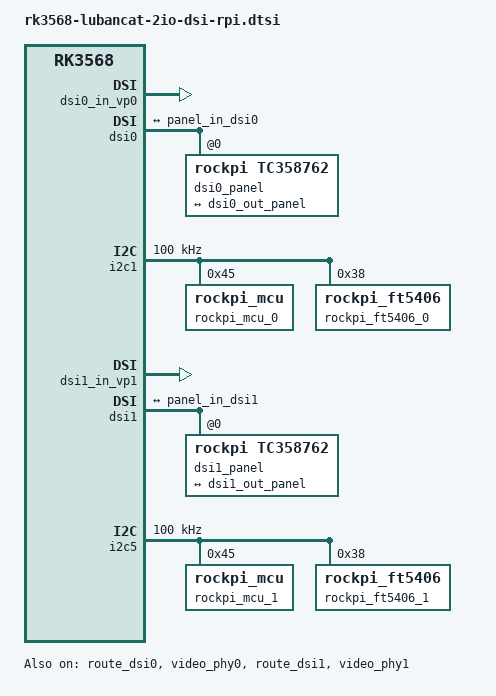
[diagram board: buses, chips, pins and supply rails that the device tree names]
// SPDX-License-Identifier: (GPL-2.0+ OR MIT)
&route_dsi0 {
	status = "okay";
	connect = <&vp0_out_dsi0>;
};

&video_phy0 {
	status = "okay";
};

&dsi0_in_vp0 {
	status = "okay";
};

&dsi0_in_vp1 {
	status = "disabled";
};

&dsi0 {
	status = "okay";
	power-supply = <&mipi_dsi0_power>;

	dsi0_panel:panel@0 {
		compatible = "rockpi,tc358762";
		reg = <0x0>;
		status = "okay";

		ports {
			#address-cells = <1>;
			#size-cells = <0>;
			port@0 {
				reg = <0>;
				panel_in_dsi0: endpoint {
					remote-endpoint = <&dsi0_out_panel>;
				};
			};
		};
	};

	ports {
		#address-cells = <1>;
		#size-cells = <0>;

		port@1 {
			reg = <1>;
			dsi0_out_panel: endpoint {
				remote-endpoint = <&panel_in_dsi0>;
			};
		};
	};
};

&i2c1 {
	status = "okay";
	clock-frequency = <100000>;

	rockpi_mcu_0: rockpi-mcu@45 {
		compatible = "rockpi_mcu";
		reg = <0x45>;
		status = "okay";
	};

	rockpi_ft5406_0: rockpi_ft5406@38 {
		compatible = "rockpi_ft5406";
		reg = <0x38>;
		status = "okay";
	};
};


&route_dsi1 {
	status = "okay";
	connect = <&vp1_out_dsi0>;
};

&video_phy1 {
	status = "okay";
};

&dsi1_in_vp0 {
	status = "disabled";
};

&dsi1_in_vp1 {
	status = "okay";
};

&dsi1 {
	status = "okay";
	power-supply = <&mipi_dsi1_power>;
	dsi1_panel:panel@0 {
		compatible = "rockpi,tc358762";
		reg = <0x0>;
		status = "okay";

		ports {
			#address-cells = <1>;
			#size-cells = <0>;
			port@0 {
				reg = <0>;
				panel_in_dsi1: endpoint {
					remote-endpoint = <&dsi1_out_panel>;
				};
			};
		};
	};

	ports {
		#address-cells = <1>;
		#size-cells = <0>;

		port@1 {
			reg = <1>;
			dsi1_out_panel: endpoint {
				remote-endpoint = <&panel_in_dsi1>;
			};
		};
   };
};

&i2c5 {
	status = "okay";
	clock-frequency = <100000>;

	rockpi_mcu_1: rockpi-mcu@45 {
		compatible = "rockpi_mcu";
		reg = <0x45>;
		status = "okay";
	};

	rockpi_ft5406_1: rockpi_ft5406@38 {
		compatible = "rockpi_ft5406";
		reg = <0x38>;
		status = "okay";
	};
};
